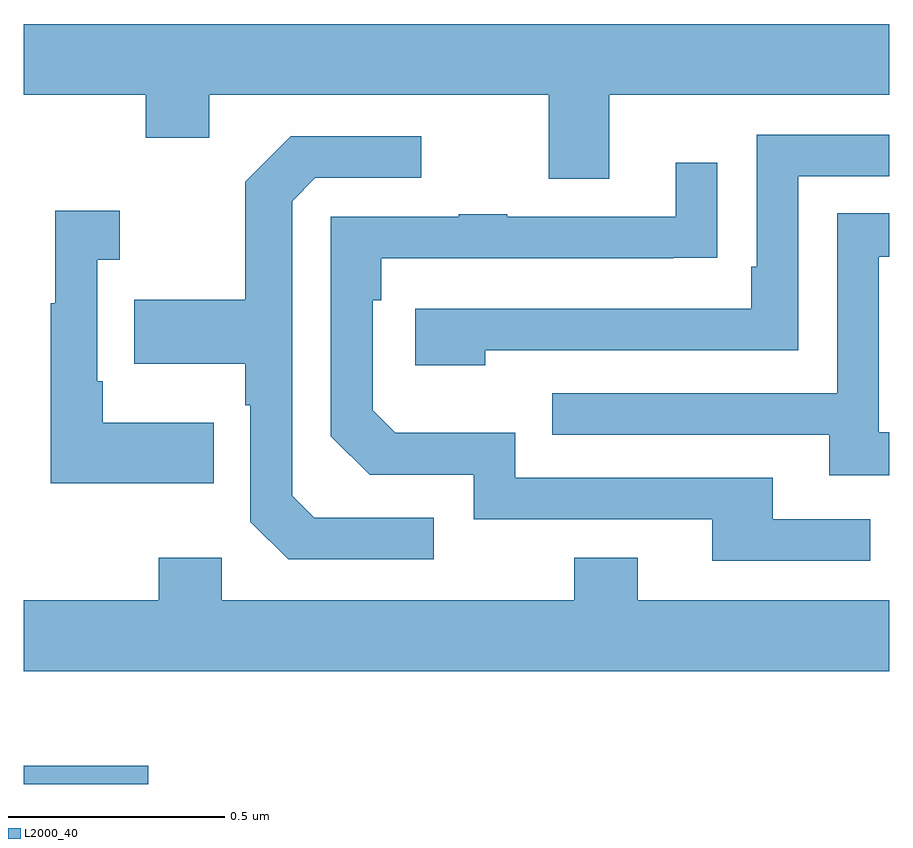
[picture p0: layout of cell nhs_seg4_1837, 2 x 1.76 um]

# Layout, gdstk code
import gdstk
lib = gdstk.Library(unit=1e-6, precision=1e-09)
def R(c, l, rs):  # rectangles x0, y0, x1, y1
    for r in rs: c.add(gdstk.rectangle(r[:2], r[2:], *l))
def P(c, l, *ps):  # polygons
    for p in ps: c.add(gdstk.Polygon(p, *l))
L2000_40 = (2000, 40)

nhs_seg4_1837 = lib.new_cell('nhs_seg4_1837')
R(nhs_seg4_1837, L2000_40, [(133,789.9,133.288,789.942)])
P(nhs_seg4_1837, L2000_40, [(134.353,791.492),(135,791.492),(135,791.656),(133,791.656),(133,791.492),(133.282,791.492),(133.282,791.393),(133.429,791.393),(133.429,791.492),(134.213,791.492),(134.213,791.298),(134.353,791.298)],
  [(134.066,790.902),(134.79,790.902),(134.79,791.304),(135,791.304),(135,791.4),(134.694,791.4),(134.694,791.095),(134.681,791.095),(134.681,790.998),(133.905,790.998),(133.905,790.868),(134.066,790.868)],
  [(133.948,790.515),(133.671,790.515),(133.62,790.566),(133.62,791.247),(133.674,791.301),(133.918,791.301),(133.918,791.397),(133.617,791.397),(133.512,791.291),(133.512,791.019),(133.255,791.019),(133.255,790.871),(133.512,790.871),(133.512,790.775),(133.524,790.775),(133.524,790.506),(133.611,790.419),(133.948,790.419)],
  [(134.956,790.512),(134.731,790.512),(134.731,790.608),(134.136,790.608),(134.136,790.711),(133.859,790.711),(133.806,790.764),(133.806,791.018),(133.826,791.018),(133.826,791.115),(134.501,791.115),(134.501,791.116),(134.603,791.116),(134.603,791.335),(134.507,791.335),(134.507,791.211),(134.117,791.211),(134.117,791.216),(134.005,791.216),(134.005,791.211),(133.71,791.211),(133.71,790.704),(133.8,790.614),(134.04,790.614),(134.04,790.512),(134.591,790.512),(134.591,790.416),(134.956,790.416)],
  [(133.439,790.735),(133.183,790.735),(133.183,790.831),(133.17,790.831),(133.17,791.111),(133.222,791.111),(133.222,791.224),(133.073,791.224),(133.073,791.011),(133.062,791.011),(133.062,790.595),(133.439,790.595)],
  [(135,790.713),(134.976,790.713),(134.976,791.118),(135,791.118),(135,791.219),(134.88,791.219),(134.88,790.803),(134.221,790.803),(134.221,790.707),(134.861,790.707),(134.861,790.613),(135,790.613)],
  [(135,790.324),(134.419,790.324),(134.419,790.423),(134.272,790.423),(134.272,790.324),(133.458,790.324),(133.458,790.423),(133.312,790.423),(133.312,790.324),(133,790.324),(133,790.16),(135,790.16)])

lib.write_gds('nhs_seg4_1837.gds')
